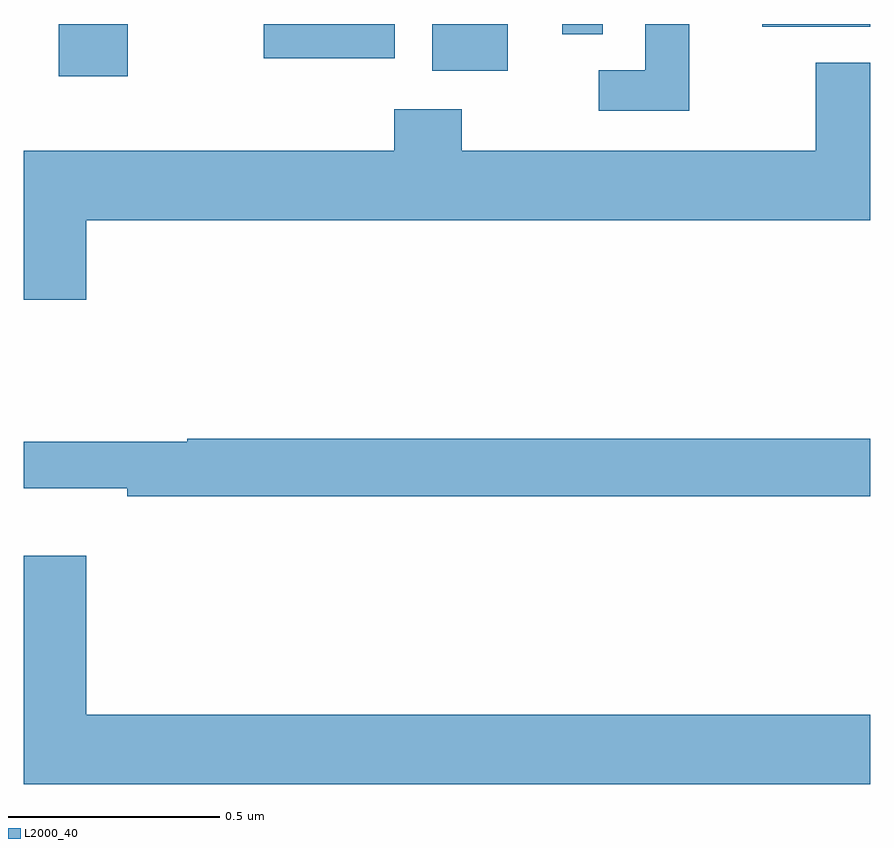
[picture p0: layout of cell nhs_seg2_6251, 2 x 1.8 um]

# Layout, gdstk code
import gdstk
lib = gdstk.Library(unit=1e-6, precision=1e-09)
def R(c, l, rs):  # rectangles x0, y0, x1, y1
    for r in rs: c.add(gdstk.rectangle(r[:2], r[2:], *l))
def P(c, l, *ps):  # polygons
    for p in ps: c.add(gdstk.Polygon(p, *l))
L2000_40 = (2000, 40)

nhs_seg2_6251 = lib.new_cell('nhs_seg2_6251')
R(nhs_seg2_6251, L2000_40, [(189.083,614.676,189.246,614.8), (189.965,614.69,190.144,614.8), (189.567,614.719,189.876,614.8), (190.272,614.776,190.368,614.8), (190.745,614.793,191,614.8)])
P(nhs_seg2_6251, L2000_40, [(190.573,614.8),(190.469,614.8),(190.469,614.691),(190.359,614.691),(190.359,614.595),(190.573,614.595)],
  [(189.148,614.336),(191,614.336),(191,614.708),(190.871,614.708),(190.871,614.5),(190.035,614.5),(190.035,614.599),(189.875,614.599),(189.875,614.5),(189,614.5),(189,614.148),(189.148,614.148)],
  [(191,613.82),(189.386,613.82),(189.386,613.813),(189,613.813),(189,613.703),(189.244,613.703),(189.244,613.684),(191,613.684)],
  [(191,613.168),(189.148,613.168),(189.148,613.543),(189,613.543),(189,613.004),(191,613.004)])

lib.write_gds('nhs_seg2_6251.gds')
